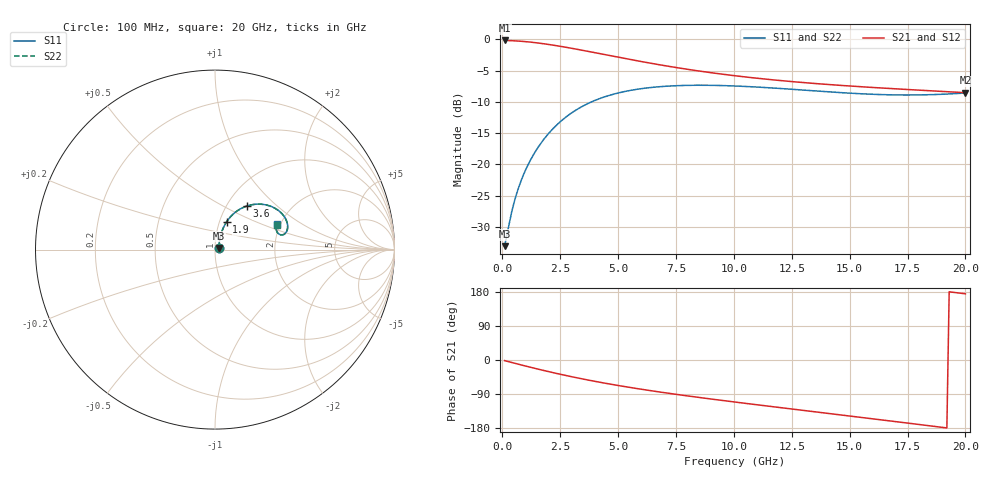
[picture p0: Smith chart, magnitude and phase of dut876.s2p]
! Touchstone file exported from HFSS 2024.1.0
!  File:  C:/UserFiles/LocalFiles/RDL_TSV_Batchsim/temp_RDL_TSV_876_1779928599.aedt
!  Generated:  08:51:21 AM May 28, 2026
!  Design:  RDL_TSV
!  Project:  temp_RDL_TSV_876_1779928599
!  Setup:  Setup1
!  Solution:  Sweep
! Variables:
!  dtsv = 8.35um
!  hbump = 3um
!  htsv = 53.89um
!  ldown = 525.42um
!  lrdl = 313.54um
!  p = 40
!  p1 = 53.11um
!  rhole = 10um
!  subl = 2830.42um
!  t = 450um
!  tdown = 4.47um
!  trdl = 3.53um
!  viad = 10um
!  wdown = 15.58um
!  wrdl = 10.46um
!  xbump = 18um
# GHz S MA R 50.000000
! Terminal data exported
! Port[1] = TM1_1_T1
! Port[2] = TM1_4_T1
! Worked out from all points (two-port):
!   200 points, 100 MHz to 20 GHz, reference 50 ohm
!   highest |S21| = -0.18 dB at 100 MHz (marker M1); lowest = -8.5 dB at 20 GHz (marker M2)
!   |S21| within 3 dB of the highest: start of sweep to 5.464 GHz
!   lowest |S11| = -33.1 dB at 100 MHz (marker M3), VSWR 1.05, Z = 52.1 + j0.92 ohm
!   |S11| at or under -10 dB: start of sweep to 3.852 GHz
!   |S22| runs from -33.1 to -7.3 dB; largest |S21 - S12| = 1.5e-14
!   S11 on the Smith chart (normalised r, x): 100 MHz: 1.04, +0.02; 1.9 GHz: 1.08, +0.35; 3.6 GHz: 1.24, +0.66; 20 GHz: 1.92, +0.63
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0.1  0.02223 23.4  0.9795 -1.6  0.9795 -1.6  0.02223 23.4
! Gamma 0 0 0 0
! Port Impedance 50 0 50 0
0.4  0.04135 56.2  0.9755 -6.5  0.9755 -6.5  0.04135 56.2
0.6  0.05689 63.3  0.9711 -9.6  0.9711 -9.6  0.05689 63.3
0.8  0.07313 66.8  0.9655 -12.8  0.9655 -12.8  0.07313 66.8
1  0.08986 68.5  0.9587 -15.9  0.9587 -15.9  0.08987 68.5
1.3  0.1156 69.3  0.9465 -20.5  0.9465 -20.5  0.1156 69.2
1.9  0.1682 67.3  0.9159 -29.3  0.9159 -29.3  0.1681 67.3
2.6  0.2274 62.4  0.8736 -39.0  0.8736 -39.0  0.2274 62.4
3.5  0.2941 54.7  0.8148 -50.4  0.8148 -50.4  0.294 54.7
3.6  0.3006 53.8  0.8083 -51.6  0.8083 -51.6  0.3005 53.8
4.3  0.3411 47.9  0.763 -59.7  0.763 -59.7  0.3409 47.9
5  0.3725 42.4  0.7201 -67.2  0.7201 -67.2  0.3723 42.3
5.9  0.4009 36.0  0.6698 -76.2  0.6698 -76.2  0.4007 35.9
6.8  0.4184 30.5  0.6256 -84.5  0.6256 -84.5  0.4181 30.4
8.3  0.4295 23.2  0.565 -97.2  0.565 -97.2  0.4292 23.1
10.1  0.4234 17.0  0.5103 -111.4  0.5103 -111.4  0.4231 16.9
11.7  0.4082 13.7  0.4742 -123.4  0.4742 -123.4  0.4079 13.6
13.4  0.3884 12.4  0.4451 -135.9  0.4451 -135.9  0.388 12.3
15.1  0.3705 13.2  0.4225 -148.5  0.4225 -148.5  0.37 13.1
16.7  0.3603 15.5  0.405 -160.4  0.405 -160.4  0.3599 15.4
18.3  0.3603 18.8  0.3897 -172.5  0.3897 -172.5  0.3598 18.7
20  0.3725 22.1  0.3746 174.7  0.3746 174.7  0.372 22.0
